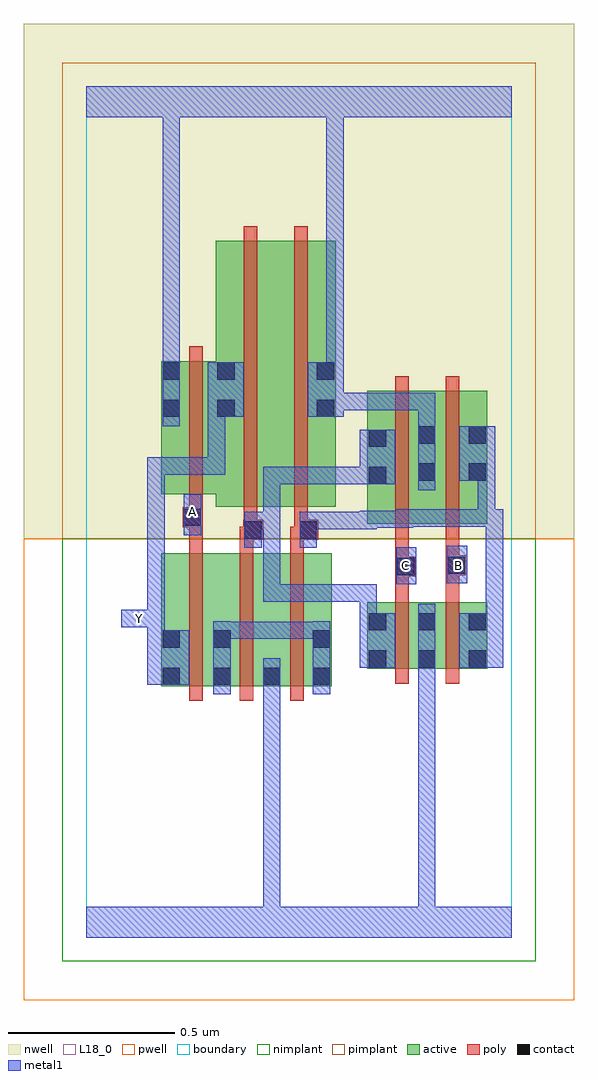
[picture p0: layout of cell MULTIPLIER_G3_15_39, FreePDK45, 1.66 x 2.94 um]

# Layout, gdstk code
import gdstk
lib = gdstk.Library(unit=1e-6, precision=1e-09)
def R(c, l, rs):  # rectangles x0, y0, x1, y1
    for r in rs: c.add(gdstk.rectangle(r[:2], r[2:], *l))
def A(c, l, x, y, w, h, nx, ny, dx, dy):  # array of equal rectangles
    R(c, l, [(x+i*dx, y+j*dy, x+i*dx+w, y+j*dy+h) for i in range(nx) for j in range(ny)])
active = (1, 0)
pwell = (2, 0)
nwell = (3, 0)
nimplant = (4, 0)
pimplant = (5, 0)
poly = (9, 0)
contact = (10, 0)
metal1 = (11, 0)
L18_0 = (18, 0)
boundary = (235, 0)

multiplier_g3_15_39 = lib.new_cell('MULTIPLIER_G3_15_39')
A(multiplier_g3_15_39, active, 0.378, 0.756, 0.06, 0.4, 3, 1, 0.15, 0)
R(multiplier_g3_15_39, active, [(0.226,0.756,0.286,1.156), (0.226,0.756,0.438,1.156), (0.378,0.756,0.588,1.156), (0.528,0.756,0.738,1.156), (0.846,0.808,0.906,1.008), (0.846,0.808,1.054,1.008), (0.994,0.808,1.206,1.008), (0.994,0.808,1.054,0.98), (1.146,0.808,1.206,1.008), (0.846,1.244,0.906,1.644), (0.846,1.244,1.054,1.644), (0.994,1.244,1.054,1.644), (0.994,1.244,1.206,1.644), (1.146,1.244,1.206,1.644), (0.39,1.296,0.57,2.096), (0.57,1.296,0.75,2.096), (0.69,1.296,0.75,2.044), (0.226,1.334,0.286,1.734), (0.226,1.334,0.45,1.734), (0.39,1.334,0.45,1.734)])
R(multiplier_g3_15_39, pwell, [(-0.188,-0.188,1.468,1.2)])
R(multiplier_g3_15_39, nwell, [(-0.188,1.2,1.468,2.748)])
R(multiplier_g3_15_39, nimplant, [(-0.072,-0.072,1.352,1.2)])
R(multiplier_g3_15_39, pimplant, [(-0.072,1.2,1.352,2.632)])
A(multiplier_g3_15_39, poly, 0.31, 0.712, 0.04, 0.488, 3, 1, 0.152, 0)
R(multiplier_g3_15_39, poly, [(0.93,0.764,0.97,1.052), (1.082,0.764,1.122,1.052), (0.93,1.012,0.97,1.126), (1.082,1.012,1.122,1.13), (0.93,1.086,0.99,1.146), (1.082,1.09,1.142,1.15), (0.93,1.106,0.97,1.146), (0.93,1.106,0.97,1.146), (0.93,1.106,0.97,1.24), (1.082,1.11,1.122,1.24), (1.082,1.11,1.122,1.15), (1.082,1.11,1.122,1.15), (0.31,1.16,0.35,1.274), (0.462,1.16,0.502,1.236), (0.614,1.16,0.654,1.236), (0.462,1.196,0.512,1.236), (0.472,1.196,0.512,1.236), (0.472,1.196,0.532,1.256), (0.614,1.196,0.666,1.236), (0.626,1.196,0.666,1.236), (0.626,1.196,0.698,1.256), (0.93,1.2,0.97,1.688), (1.082,1.2,1.122,1.688), (0.474,1.216,0.514,1.292), (0.626,1.216,0.666,1.292), (0.29,1.234,0.35,1.294), (0.474,1.252,0.514,2.14), (0.626,1.252,0.666,2.14), (0.31,1.254,0.35,1.294), (0.31,1.254,0.35,1.294), (0.31,1.254,0.35,1.33), (0.31,1.29,0.35,1.778)])
A(multiplier_g3_15_39, contact, 0.382, 0.76, 0.052, 0.052, 3, 1, 0.15, 0)
R(multiplier_g3_15_39, contact, [(0.23,0.76,0.282,0.812), (0.85,0.812,0.902,0.864), (0.998,0.812,1.05,0.864), (1.15,0.812,1.202,0.864), (0.23,0.872,0.282,0.924), (0.382,0.872,0.434,0.924), (0.682,0.872,0.734,0.924), (0.85,0.924,0.902,0.976), (0.998,0.924,1.05,0.976), (1.15,0.924,1.202,0.976), (0.934,1.09,0.986,1.142), (1.086,1.094,1.138,1.146), (0.476,1.2,0.528,1.252), (0.642,1.2,0.694,1.252), (0.294,1.238,0.346,1.29), (0.85,1.364,0.902,1.416), (0.998,1.374,1.05,1.426), (1.15,1.374,1.202,1.426), (0.85,1.476,0.902,1.528), (0.998,1.486,1.05,1.538), (1.15,1.486,1.202,1.538), (0.23,1.566,0.282,1.618), (0.394,1.566,0.446,1.618), (0.694,1.566,0.746,1.618), (0.23,1.678,0.282,1.73), (0.394,1.678,0.446,1.73), (0.694,1.678,0.746,1.73)])
R(multiplier_g3_15_39, metal1, [(0,0,1.28,0.092), (0.532,0.04,0.584,0.784), (0.998,0.04,1.05,0.092), (0.998,0.04,1.05,0.092), (0.998,0.04,1.05,0.092), (0.998,0.04,1.05,0.092), (0.998,0.04,1.05,0.092), (0.998,0.04,1.05,0.092), (0.998,0.04,1.05,0.092), (0.998,0.04,1.05,0.092), (0.998,0.04,1.05,0.092), (0.998,0.04,1.05,0.092), (0.998,0.04,1.05,0.092), (0.998,0.04,1.05,0.092), (0.998,0.04,1.05,0.836), (0.382,0.732,0.434,0.952), (0.532,0.732,0.584,0.784), (0.532,0.732,0.584,0.784), (0.532,0.732,0.584,0.784), (0.532,0.732,0.584,0.784), (0.532,0.732,0.584,0.784), (0.532,0.732,0.584,0.784), (0.532,0.732,0.584,0.784), (0.532,0.732,0.584,0.784), (0.532,0.732,0.584,0.784), (0.532,0.732,0.584,0.784), (0.532,0.732,0.584,0.784), (0.532,0.732,0.584,0.784), (0.532,0.732,0.584,0.84), (0.682,0.732,0.734,0.952), (0.184,0.76,0.31,0.924), (0.998,0.784,1.05,0.836), (0.998,0.784,1.05,0.836), (0.998,0.784,1.05,0.836), (0.998,0.784,1.05,0.836), (0.998,0.784,1.05,1.004), (0.822,0.812,0.93,0.976), (1.122,0.812,1.254,0.976), (0.184,0.872,0.236,0.986), (0.382,0.898,0.544,0.95), (0.492,0.898,0.544,0.95), (0.492,0.898,0.544,0.95), (0.492,0.898,0.544,0.95), (0.492,0.898,0.734,0.95), (0.682,0.898,0.734,0.95), (0.682,0.898,0.734,0.95), (0.822,0.924,0.874,1.062), (1.202,0.924,1.254,1.288), (0.106,0.934,0.236,0.986), (0.184,0.934,0.236,1.444), (0.532,1.01,0.584,1.062), (0.532,1.01,0.654,1.062), (0.532,1.01,0.584,1.28), (0.602,1.01,0.654,1.062), (0.602,1.01,0.874,1.062), (0.822,1.01,0.874,1.062), (0.822,1.01,0.874,1.062), (0.822,1.01,0.874,1.062), (0.932,1.062,0.992,1.174), (1.086,1.066,1.146,1.178), (0.476,1.172,0.528,1.28), (0.642,1.172,0.694,1.28), (0.294,1.21,0.346,1.334), (0.476,1.228,0.584,1.28), (0.532,1.228,0.584,1.28), (0.532,1.228,0.584,1.416), (0.642,1.228,0.874,1.28), (0.822,1.228,0.874,1.284), (0.822,1.232,0.874,1.284), (0.822,1.232,0.874,1.284), (0.822,1.232,0.984,1.284), (0.932,1.232,0.984,1.288), (0.932,1.236,0.984,1.288), (0.932,1.236,0.984,1.288), (0.932,1.236,1.23,1.288), (1.178,1.236,1.23,1.426), (1.178,1.236,1.23,1.288), (1.178,1.236,1.23,1.288), (1.178,1.236,1.254,1.288), (1.202,1.236,1.254,1.288), (1.202,1.236,1.254,1.288), (0.998,1.346,1.05,1.566), (0.532,1.364,0.584,1.416), (0.532,1.364,0.654,1.416), (0.602,1.364,0.654,1.416), (0.602,1.364,0.874,1.416), (0.822,1.364,0.93,1.528), (0.822,1.364,0.874,1.416), (0.822,1.364,0.874,1.416), (1.122,1.374,1.23,1.538), (0.184,1.392,0.236,1.444), (0.184,1.392,0.418,1.444), (0.366,1.392,0.418,1.444), (0.366,1.392,0.418,1.444), (0.366,1.392,0.418,1.444), (0.366,1.392,0.418,1.618), (0.998,1.514,1.05,1.638), (0.23,1.538,0.282,1.758), (0.366,1.566,0.474,1.73), (0.666,1.566,0.774,1.73), (0.722,1.586,0.874,1.638), (0.822,1.586,0.874,1.638), (0.822,1.586,0.874,1.638), (0.822,1.586,0.874,1.638), (0.822,1.586,0.874,1.638), (0.822,1.586,0.874,1.638), (0.822,1.586,1.028,1.638), (0.976,1.586,1.028,1.638), (0.976,1.586,1.028,1.638), (0.976,1.586,1.05,1.638), (0.998,1.586,1.05,1.638), (0.998,1.586,1.05,1.638), (0.722,1.678,0.774,1.73), (0.722,1.678,0.774,1.73), (0.722,1.678,0.774,1.73), (0.722,1.678,0.774,1.73), (0.722,1.678,0.774,1.73), (0.722,1.678,0.774,1.73), (0.722,1.678,0.774,2.52), (0.23,1.706,0.282,1.758), (0.23,1.706,0.282,1.758), (0.23,1.706,0.282,1.758), (0.23,1.706,0.282,1.758), (0.23,1.706,0.282,1.758), (0.23,1.706,0.282,1.758), (0.23,1.706,0.282,1.758), (0.23,1.706,0.282,1.758), (0.23,1.706,0.282,1.758), (0.23,1.706,0.282,1.758), (0.23,1.706,0.282,2.52), (0,2.468,1.28,2.56), (0.23,2.468,0.282,2.52), (0.23,2.468,0.282,2.52), (0.23,2.468,0.282,2.52), (0.23,2.468,0.282,2.52), (0.23,2.468,0.282,2.52), (0.23,2.468,0.282,2.52), (0.722,2.468,0.774,2.52), (0.722,2.468,0.774,2.52)])
R(multiplier_g3_15_39, L18_0, [(0,0,1.28,0.092), (0.532,0.04,0.584,0.784), (0.998,0.04,1.05,0.092), (0.998,0.04,1.05,0.092), (0.998,0.04,1.05,0.092), (0.998,0.04,1.05,0.092), (0.998,0.04,1.05,0.092), (0.998,0.04,1.05,0.092), (0.998,0.04,1.05,0.092), (0.998,0.04,1.05,0.092), (0.998,0.04,1.05,0.092), (0.998,0.04,1.05,0.092), (0.998,0.04,1.05,0.092), (0.998,0.04,1.05,0.092), (0.998,0.04,1.05,0.836), (0.532,0.732,0.584,0.784), (0.532,0.732,0.584,0.784), (0.532,0.732,0.584,0.784), (0.532,0.732,0.584,0.784), (0.532,0.732,0.584,0.784), (0.532,0.732,0.584,0.784), (0.532,0.732,0.584,0.784), (0.532,0.732,0.584,0.784), (0.532,0.732,0.584,0.784), (0.532,0.732,0.584,0.784), (0.532,0.732,0.584,0.784), (0.532,0.732,0.584,0.784), (0.532,0.732,0.584,0.84), (0.184,0.76,0.31,0.924), (0.998,0.784,1.05,0.836), (0.998,0.784,1.05,0.836), (0.998,0.784,1.05,0.836), (0.998,0.784,1.05,0.836), (0.998,0.784,1.05,1.004), (0.184,0.872,0.236,0.986), (0.106,0.934,0.236,0.986), (0.134,0.934,0.186,0.986), (0.184,0.934,0.236,1.444), (0.932,1.062,0.992,1.174), (1.086,1.066,1.146,1.178), (0.934,1.094,0.986,1.146), (1.094,1.094,1.146,1.146), (0.294,1.21,0.346,1.334), (0.294,1.254,0.346,1.306), (0.998,1.346,1.05,1.566), (0.184,1.392,0.236,1.444), (0.184,1.392,0.418,1.444), (0.366,1.392,0.418,1.444), (0.366,1.392,0.418,1.444), (0.366,1.392,0.418,1.444), (0.366,1.392,0.418,1.618), (0.998,1.514,1.05,1.638), (0.23,1.538,0.282,1.758), (0.366,1.566,0.474,1.73), (0.666,1.566,0.774,1.73), (0.722,1.586,0.874,1.638), (0.822,1.586,0.874,1.638), (0.822,1.586,0.874,1.638), (0.822,1.586,0.874,1.638), (0.822,1.586,0.874,1.638), (0.822,1.586,0.874,1.638), (0.822,1.586,1.028,1.638), (0.976,1.586,1.028,1.638), (0.976,1.586,1.028,1.638), (0.976,1.586,1.05,1.638), (0.998,1.586,1.05,1.638), (0.998,1.586,1.05,1.638), (0.722,1.678,0.774,1.73), (0.722,1.678,0.774,1.73), (0.722,1.678,0.774,1.73), (0.722,1.678,0.774,1.73), (0.722,1.678,0.774,1.73), (0.722,1.678,0.774,1.73), (0.722,1.678,0.774,2.52), (0.23,1.706,0.282,1.758), (0.23,1.706,0.282,1.758), (0.23,1.706,0.282,1.758), (0.23,1.706,0.282,1.758), (0.23,1.706,0.282,1.758), (0.23,1.706,0.282,1.758), (0.23,1.706,0.282,1.758), (0.23,1.706,0.282,1.758), (0.23,1.706,0.282,1.758), (0.23,1.706,0.282,1.758), (0.23,1.706,0.282,2.52), (0,2.468,1.28,2.56), (0.23,2.468,0.282,2.52), (0.23,2.468,0.282,2.52), (0.23,2.468,0.282,2.52), (0.23,2.468,0.282,2.52), (0.23,2.468,0.282,2.52), (0.23,2.468,0.282,2.52), (0.722,2.468,0.774,2.52), (0.722,2.468,0.774,2.52)])
R(multiplier_g3_15_39, boundary, [(0,0,1.28,2.56)])
multiplier_g3_15_39.add(gdstk.Label('A', (0.32,1.28), layer=11, texttype=0))
multiplier_g3_15_39.add(gdstk.Label('B', (1.12,1.12), layer=11, texttype=0))
multiplier_g3_15_39.add(gdstk.Label('C', (0.96,1.12), layer=11, texttype=0))
multiplier_g3_15_39.add(gdstk.Label('Y', (0.16,0.96), layer=11, texttype=0))

lib.write_gds('MULTIPLIER_G3_15_39.gds')
